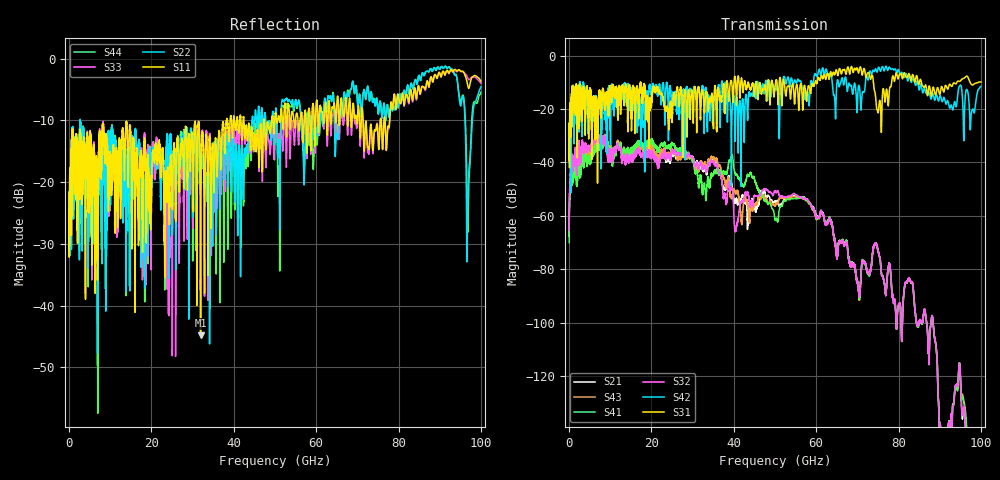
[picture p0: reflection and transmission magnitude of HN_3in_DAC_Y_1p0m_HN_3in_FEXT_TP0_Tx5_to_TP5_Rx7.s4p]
# GHz S RI R 45
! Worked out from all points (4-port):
!   4000 points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, 25 MHz to 100 GHz, reference 45 ohm
!   strongest paths, dB at 25 MHz, 25.02 GHz, 50.02 GHz, 75.03 GHz, 100 GHz:
!     S31: -39.2, -24.5, -11.5, -21.4, -9.9
!     S42: -38.9, -15.9, -12.9, -4.7, -11.5
!     S32: -65.4, -35.5, -50.5, -72.9, -179.5
!     S41: -70.0, -32.6, -61.2, -72.8, -179.8
!     S43: -67.4, -34.9, -56.0, -72.8, -181.0
!     S21: -67.7, -36.3, -54.4, -72.8, -177.4
!   lowest |S11| = -44.8 dB at 31.95 GHz (marker M1), VSWR 1.01, Z = 44.6 + j0.369 ohm
!   |S11| at or under -10 dB: start of sweep to 38.22 GHz; 42.46 GHz to 47.29 GHz (4.823 GHz wide, 10.7 % of centre); 71.39 GHz to 75.58 GHz (4.195 GHz wide, 5.71 % of centre)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
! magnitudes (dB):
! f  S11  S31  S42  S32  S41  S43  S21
! 25 MHz  -24.5  -39.2  -38.9  -65.4  -70.0  -67.4  -67.7
! 8.3 GHz  -10.5  -12.8  -14.4  -32.6  -34.3  -33.0  -33.2
! 31.95 GHz  -44.8  -23.9  -19.3  -40.1  -45.1  -39.7  -40.7
! 40.55 GHz  -11.2  -13.1  -17.6  -64.7  -44.7  -51.8  -54.3
! 54.92 GHz  -10.6  -14.6  -9.4  -51.9  -53.4  -52.8  -52.5
! 69.95 GHz  -10.3  -4.6  -21.4  -84.1  -83.9  -84.2  -83.8
! 100 GHz  -3.6  -9.9  -11.5  -179.5  -179.8  -181.0  -177.4
